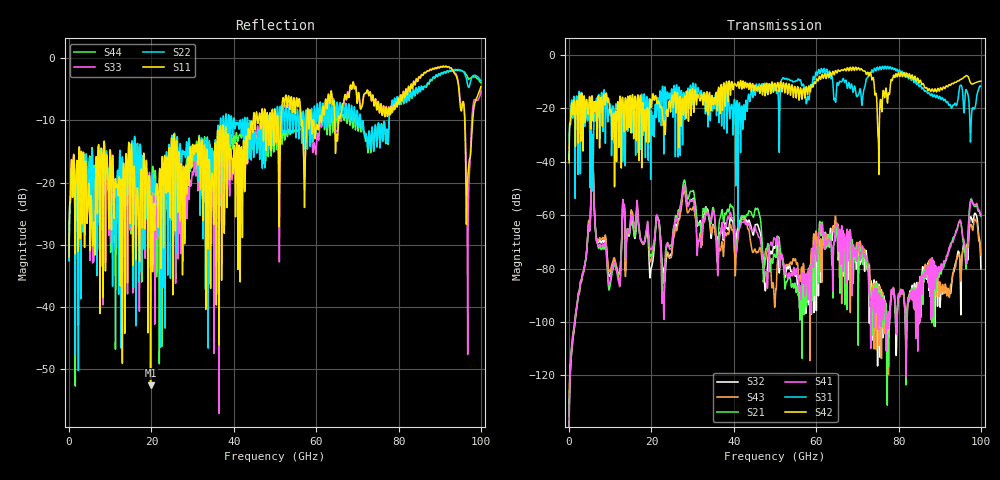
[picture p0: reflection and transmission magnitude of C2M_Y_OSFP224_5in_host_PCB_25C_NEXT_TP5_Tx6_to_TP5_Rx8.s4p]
# GHz S RI R 45
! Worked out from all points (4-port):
!   4000 points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, 25 MHz to 100 GHz, reference 45 ohm
!   strongest paths, dB at 25 MHz, 25.02 GHz, 50.02 GHz, 75.03 GHz, 100 GHz:
!     S42: -40.4, -15.0, -10.6, -30.3, -9.9
!     S31: -39.3, -13.4, -11.4, -5.3, -11.7
!     S41: -139.0, -70.8, -68.9, -96.1, -60.0
!     S21: -139.4, -70.0, -75.3, -88.7, -60.4
!     S43: -130.8, -74.0, -93.0, -87.6, -75.0
!     S32: -135.3, -73.1, -72.1, -91.7, -80.1
!   lowest |S11| = -52.6 dB at 19.8 GHz (marker M1), VSWR 1.00, Z = 45.2 - j0.127 ohm
!   |S11| at or under -10 dB: start of sweep to 44.74 GHz; 59.38 GHz to 60.78 GHz (1.401 GHz wide, 2.33 % of centre); 96.08 GHz to 98 GHz (1.929 GHz wide, 1.99 % of centre)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
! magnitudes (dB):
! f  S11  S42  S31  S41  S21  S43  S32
! 25 MHz  -31.9  -40.4  -39.3  -139.0  -139.4  -130.8  -135.3
! 5.725 GHz  -30.0  -18.3  -29.8  -38.9  -38.9  -38.8  -38.8
! 9.775 GHz  -21.3  -19.0  -22.5  -85.8  -87.9  -81.0  -82.9
! 19.8 GHz  -52.6  -16.8  -37.5  -72.9  -75.2  -77.3  -81.2
! 27.98 GHz  -21.4  -17.3  -16.7  -48.9  -46.8  -50.9  -48.8
! 52.65 GHz  -5.9  -10.9  -8.7  -82.0  -85.5  -78.6  -81.8
! 100 GHz  -4.6  -9.9  -11.7  -60.0  -60.4  -75.0  -80.1
